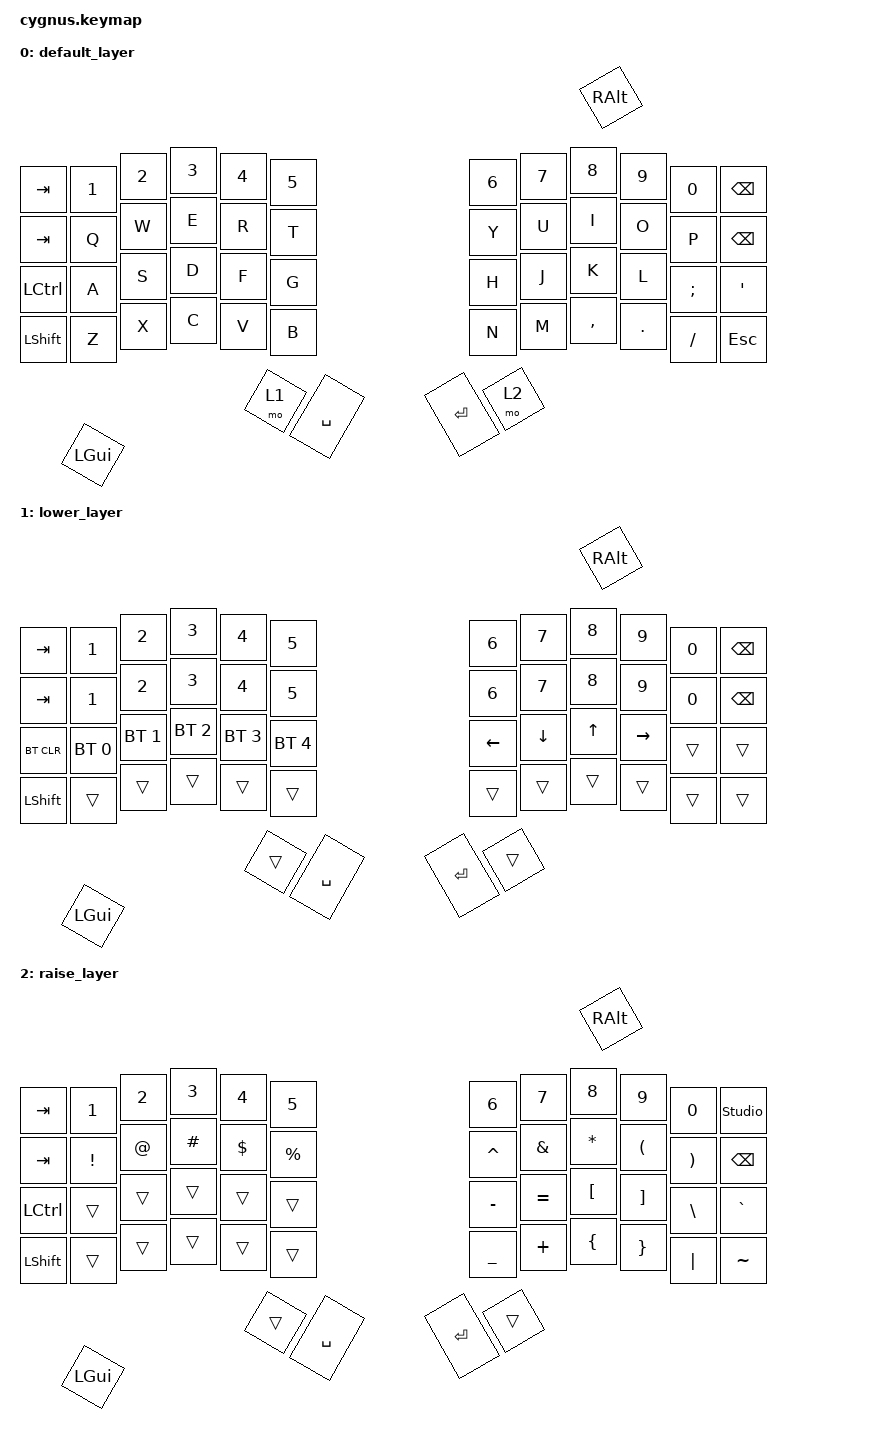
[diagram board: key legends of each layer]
#include <behaviors.dtsi>
#include <dt-bindings/zmk/keys.h>
#include <dt-bindings/zmk/bt.h>

/ {
        keymap {
                compatible = "zmk,keymap";

                default_layer {
// -----------------------------------------------------------------------------------------
// |  ESC |  1  |  2  |  3  |  4  |  5  |   |  6  |  7   |  8  |  9  |  0  |  ?   |
// |  TAB |  Q  |  W  |  E  |  R  |  T  |   |  Y  |  U   |  I  |  O  |  P  | BKSP |
// | CTRL |  A  |  S  |  D  |  F  |  G  |   |  H  |  J   |  K  |  L  |  ;  |  '   |
// | SHFT |  Z  |  X  |  C  |  V  |  B  |   |  N  |  M   |  ,  |  .  |  /  | ESC  |
//                    | GUI | LWR | SPC |   | ENT | RSE  | ALT |
                        bindings = <
   &kp TAB &kp N1 &kp N2 &kp N3 &kp N4 &kp N5 &kp N6 &kp N7 &kp N8 &kp N9 &kp N0 &kp BSPC
   &kp TAB   &kp Q &kp W &kp E &kp R &kp T   &kp Y &kp U  &kp I     &kp O   &kp P    &kp BSPC
   &kp LCTRL &kp A &kp S &kp D &kp F &kp G   &kp H &kp J  &kp K     &kp L   &kp SEMI &kp SQT
   &kp LSHFT &kp Z &kp X &kp C &kp V &kp B   &kp N &kp M  &kp COMMA &kp DOT &kp FSLH &kp ESC
                  &kp LGUI &mo 1 &kp SPACE   &kp RET &mo 2 &kp RALT
                        >;
                };
                lower_layer {
// -----------------------------------------------------------------------------------------
// |  TAB |  F1 |  F2 |  F3 |  F4 |  F5 |   |  F6 |  F7 |  F8 |  F9 | F10 | BKSP |
// |  TAB |  1  |  2  |  3  |  4  |  5  |   |  6  |  7  |  8  |  9  |  0  | BKSP |
// | BTCLR| BT1 | BT2 | BT3 | BT4 | BT5 |   | LFT | DWN |  UP | RGT |     |      |
// | SHFT |     |     |     |     |     |   |     |     |     |     |     |      |
//                    | GUI |     | SPC |   | ENT |     | ALT |
                        bindings = <
   &kp TAB &kp N1 &kp N2 &kp N3 &kp N4 &kp N5 &kp N6 &kp N7 &kp N8 &kp N9 &kp N0 &kp BSPC
   &kp TAB    &kp N1       &kp N2       &kp N3       &kp N4       &kp N5         &kp N6   &kp N7   &kp N8 &kp N9    &kp N0 &kp BSPC
   &bt BT_CLR &bt BT_SEL 0 &bt BT_SEL 1 &bt BT_SEL 2 &bt BT_SEL 3 &bt BT_SEL 4   &kp LEFT &kp DOWN &kp UP &kp RIGHT &trans &trans
   &kp LSHFT  &trans       &trans       &trans       &trans       &trans         &trans   &trans   &trans &trans    &trans &trans
                                    &kp LGUI     &trans       &kp SPACE      &kp RET  &trans   &kp RALT
                        >;
                };

                raise_layer {
// -----------------------------------------------------------------------------------------
// |  TAB |  !  |  @  |  #  |  $  |  %  |   |  ^  |  &  |  *  |  (  |  )  | BKSP |
// | CTRL |     |     |     |     |     |   |  -  |  =  |  [  |  ]  |  \  |  `   |
// | SHFT |     |     |     |     |     |   |  _  |  +  |  {  |  }  | "|" |  ~   |
//                    | GUI |     | SPC |   | ENT |     | ALT |
                        bindings = <
   &kp TAB &kp N1 &kp N2 &kp N3 &kp N4 &kp N5 &kp N6 &kp N7 &kp N8 &kp N9 &kp N0 &studio_unlock
   &kp  TAB  &kp EXCL &kp AT &kp HASH &kp DLLR &kp PRCNT   &kp CARET &kp AMPS  &kp ASTRK &kp LPAR &kp RPAR &kp BSPC
   &kp LCTRL &trans   &trans &trans   &trans   &trans      &kp MINUS &kp EQUAL &kp LBKT  &kp RBKT &kp BSLH &kp GRAVE
   &kp LSHFT &trans   &trans &trans   &trans   &trans      &kp UNDER &kp PLUS  &kp LBRC  &kp RBRC &kp PIPE &kp TILDE
                             &kp LGUI &trans   &kp SPACE   &kp RET   &trans    &kp RALT
                        >;
                };


                extra1 {
                    status = "reserved";
                };

                extra2 {
                    status = "reserved";
                };

        };
};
